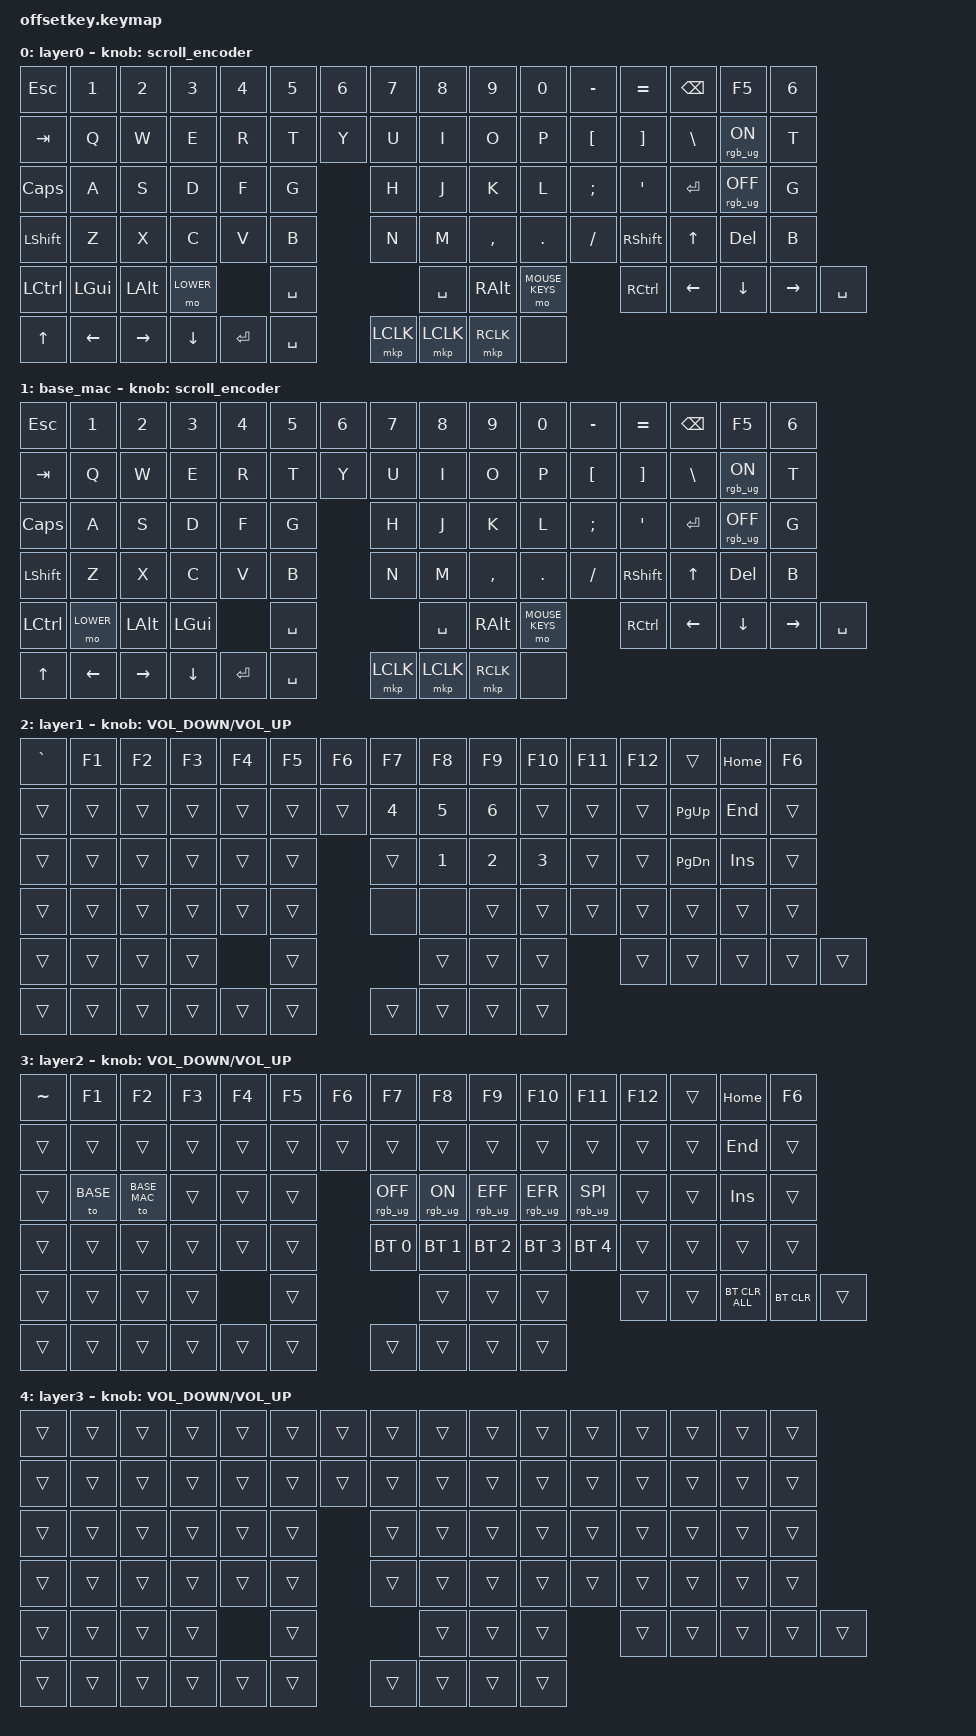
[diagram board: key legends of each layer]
#define BASE 0
#define BASE_MAC 1
#define LOWER 2
#define MOUSE_KEYS 3
#define MOUSE_TP 4
#define MOUSE_TP_SET 5

#include <zephyr/dt-bindings/input/input-event-codes.h>
#include <behaviors/toggle_io.dtsi>
#include <behaviors/on_io.dtsi>
#include <behaviors/off_io.dtsi>
#include <input/processors.dtsi>
#include <behaviors.dtsi>
#include <dt-bindings/zmk/bt.h>
#include <dt-bindings/zmk/keys.h>
#include <dt-bindings/zmk/pointing.h>
#include <dt-bindings/zmk/rgb.h>
#include <dt-bindings/zmk/outputs.h>


#define ZMK_POINTING_DEFAULT_MOVE_VAL 1200  // 600
#define ZMK_POINTING_DEFAULT_SCRL_VAL 20

&mmv_input_listener { input-processors = <&zip_xy_scaler 2 1>; };

&msc_input_listener { input-processors = <&zip_scroll_scaler 2 1>; };

&msc {
    acceleration-exponent = <1>;      // 0
    time-to-max-speed-ms = <100>;       // 300
    delay-ms = <0>;                   // 0
};

&mmv {
    time-to-max-speed-ms = <500>;
    acceleration-exponent = <1>;
    trigger-period-ms = <16>;
};

/ {
    scroll_encoder: scroll_encoder {
        compatible = "zmk,behavior-sensor-rotate";
        #sensor-binding-cells = <0>;
        bindings = <&msc SCRL_UP>, <&msc SCRL_DOWN>;

        tap-ms = <100>;
    };

    behaviors {
        ltq: ltq {
            compatible = "zmk,behavior-hold-tap";
            label = "LTQ";
            bindings = <&mo>, <&kp>;

            #binding-cells = <2>;
            tapping-term-ms = <200>;
            quick-tap-ms = <180>;
        };
    };

    combos {
        compatible = "zmk,combos";

        flash {
            bindings = <&bootloader>;
            key-positions = <0 11>;
        };
    };

    keymap {
        compatible = "zmk,keymap";

        BASE {
            bindings = <
&kp ESC       &kp N1          &kp N2           &kp N3          &kp N4     &kp N5     &kp N6      &kp N7     &kp N8     &kp N9         &kp N0   &kp MINUS  &kp EQUAL  &kp BSPC      &kp F5                           &kp NUMBER_6
&kp TAB       &kp Q           &kp W            &kp E           &kp R      &kp T                  &kp Y      &kp U      &kp I          &kp O    &kp P      &kp LBKT   &kp RBKT      &kp BSLH         &rgb_ug RGB_ON  &kp T
&kp CAPS      &kp A           &kp S            &kp D           &kp F      &kp G                  &kp H      &kp J      &kp K          &kp L    &kp SEMI   &kp APOS   &kp ENTER     &rgb_ug RGB_OFF                  &kp G
&kp LSHFT     &kp Z           &kp X            &kp C           &kp V      &kp B                  &kp N      &kp M      &kp COMMA      &kp DOT  &kp FSLH   &kp RSHFT  &kp UP_ARROW  &kp DELETE                       &kp B
&kp LCTRL     &kp LEFT_GUI    &kp LEFT_ALT     &mo LOWER                  &kp SPACE                         &kp SPACE  &kp RIGHT_ALT  &mo MOUSE_KEYS  &kp RCTRL  &kp LEFT   &kp DOWN      &kp RIGHT                        &kp SPACE
&kp UP_ARROW  &kp LEFT_ARROW  &kp RIGHT_ARROW  &kp DOWN_ARROW  &kp ENTER  &kp SPACE              &mkp LCLK  &mkp LCLK  &mkp RCLK      &none
            >;

            label = "layer0";
            sensor-bindings = <&scroll_encoder>;
        };

        base_mac {
            bindings = <
&kp ESC       &kp N1          &kp N2           &kp N3          &kp N4     &kp N5     &kp N6      &kp N7     &kp N8     &kp N9         &kp N0   &kp MINUS  &kp EQUAL  &kp BSPC      &kp F5                           &kp NUMBER_6
&kp TAB       &kp Q           &kp W            &kp E           &kp R      &kp T                  &kp Y      &kp U      &kp I          &kp O    &kp P      &kp LBKT   &kp RBKT      &kp BSLH         &rgb_ug RGB_ON  &kp T
&kp CAPS      &kp A           &kp S            &kp D           &kp F      &kp G                  &kp H      &kp J      &kp K          &kp L    &kp SEMI   &kp APOS   &kp ENTER     &rgb_ug RGB_OFF                  &kp G
&kp LSHFT     &kp Z           &kp X            &kp C           &kp V      &kp B                  &kp N      &kp M      &kp COMMA      &kp DOT  &kp FSLH   &kp RSHFT  &kp UP_ARROW  &kp DELETE                       &kp B
&kp LCTRL     &mo LOWER       &kp LEFT_ALT     &kp LEFT_GUI               &kp SPACE                         &kp SPACE  &kp RIGHT_ALT  &mo MOUSE_KEYS  &kp RCTRL  &kp LEFT   &kp DOWN      &kp RIGHT                        &kp SPACE
&kp UP_ARROW  &kp LEFT_ARROW  &kp RIGHT_ARROW  &kp DOWN_ARROW  &kp ENTER  &kp SPACE              &mkp LCLK  &mkp LCLK  &mkp RCLK      &none
            >;

            label = "base_mac";
            sensor-bindings = <&scroll_encoder>;
        };

        layer_1 {
            bindings = <
&kp GRAVE  &kp F1  &kp F2  &kp F3  &kp F4  &kp F5  &kp F6      &kp F7  &kp F8        &kp F9        &kp F10       &kp F11  &kp F12  &trans     &kp HOME             &kp F6
&trans     &trans  &trans  &trans  &trans  &trans              &trans  &kp NUMBER_4  &kp NUMBER_5  &kp NUMBER_6  &trans   &trans   &trans     &kp PG_UP   &kp END  &trans
&trans     &trans  &trans  &trans  &trans  &trans              &trans  &kp NUMBER_1  &kp NUMBER_2  &kp NUMBER_3  &trans   &trans   &kp PG_DN  &kp INSERT           &trans
&trans     &trans  &trans  &trans  &trans  &trans              &none   &none         &trans        &trans        &trans   &trans   &trans     &trans               &trans
&trans     &trans  &trans  &trans          &trans                      &trans        &trans        &trans        &trans   &trans   &trans     &trans               &trans
&trans     &trans  &trans  &trans  &trans  &trans              &trans  &trans        &trans        &trans
            >;

            label = "layer1";
            sensor-bindings = <&inc_dec_kp C_VOLUME_DOWN C_VOLUME_UP>;
        };

        layer_2 {
            bindings = <
&kp TILDE  &kp F1  &kp F2  &kp F3  &kp F4  &kp F5  &kp F6      &kp F7           &kp F8          &kp F9           &kp F10          &kp F11          &kp F12  &trans          &kp HOME             &kp F6
&trans     &trans  &trans  &trans  &trans  &trans              &trans           &trans          &trans           &trans           &trans           &trans   &trans          &trans      &kp END  &trans
&trans     &to BASE &to BASE_MAC &trans  &trans  &trans              &rgb_ug RGB_OFF  &rgb_ug RGB_ON  &rgb_ug RGB_EFF  &rgb_ug RGB_EFR  &rgb_ug RGB_SPI  &trans   &trans          &kp INSERT           &trans
&trans     &trans  &trans  &trans  &trans  &trans              &bt BT_SEL 0     &bt BT_SEL 1    &bt BT_SEL 2     &bt BT_SEL 3     &bt BT_SEL 4     &trans   &trans          &trans               &trans
&trans     &trans  &trans  &trans          &trans                               &trans          &trans           &trans           &trans           &trans   &bt BT_CLR_ALL  &bt BT_CLR           &trans
&trans     &trans  &trans  &trans  &trans  &trans              &trans           &trans          &trans           &trans
            >;

            label = "layer2";
            sensor-bindings = <&inc_dec_kp C_VOLUME_DOWN C_VOLUME_UP>;
        };

        layer_3 {
            bindings = <
&trans  &trans  &trans  &trans  &trans  &trans  &trans      &trans  &trans  &trans  &trans  &trans  &trans  &trans  &trans          &trans
&trans  &trans  &trans  &trans  &trans  &trans              &trans  &trans  &trans  &trans  &trans  &trans  &trans  &trans  &trans  &trans
&trans  &trans  &trans  &trans  &trans  &trans              &trans  &trans  &trans  &trans  &trans  &trans  &trans  &trans          &trans
&trans  &trans  &trans  &trans  &trans  &trans              &trans  &trans  &trans  &trans  &trans  &trans  &trans  &trans          &trans
&trans  &trans  &trans  &trans          &trans                      &trans  &trans  &trans  &trans  &trans  &trans  &trans          &trans
&trans  &trans  &trans  &trans  &trans  &trans              &trans  &trans  &trans  &trans
            >;

            label = "layer3";
            sensor-bindings = <&inc_dec_kp C_VOLUME_DOWN C_VOLUME_UP>;
        };
    };
};
